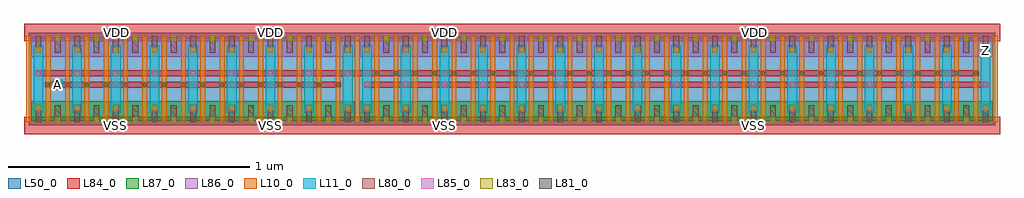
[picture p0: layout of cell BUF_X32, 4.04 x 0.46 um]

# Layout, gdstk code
import gdstk
lib = gdstk.Library(unit=1e-6, precision=1e-09)
def R(c, l, rs):  # rectangles x0, y0, x1, y1
    for r in rs: c.add(gdstk.rectangle(r[:2], r[2:], *l))
def A(c, l, x, y, w, h, nx, ny, dx, dy):  # array of equal rectangles
    R(c, l, [(x+i*dx, y+j*dy, x+i*dx+w, y+j*dy+h) for i in range(nx) for j in range(ny)])
L10_0 = (10, 0)
L11_0 = (11, 0)
L50_0 = (50, 0)
L80_0 = (80, 0)
L81_0 = (81, 0)
L83_0 = (83, 0)
L84_0 = (84, 0)
L85_0 = (85, 0)
L86_0 = (86, 0)
L87_0 = (87, 0)

buf_x32 = lib.new_cell('BUF_X32')
A(buf_x32, L10_0, -0.094, 0.116, 0.02, 0.36, 5, 1, 0.08, 0)
A(buf_x32, L10_0, 0.306, 0.116, 0.02, 0.36, 5, 1, 0.08, 0)
A(buf_x32, L10_0, 0.626, 0.116, 0.02, 0.36, 4, 1, 0.08, 0)
A(buf_x32, L10_0, 0.946, 0.116, 0.02, 0.36, 5, 1, 0.08, 0)
A(buf_x32, L10_0, 1.266, 0.116, 0.02, 0.36, 5, 1, 0.08, 0)
A(buf_x32, L10_0, 1.666, 0.116, 0.02, 0.36, 4, 1, 0.08, 0)
A(buf_x32, L10_0, 1.986, 0.116, 0.02, 0.36, 4, 1, 0.08, 0)
A(buf_x32, L10_0, 2.306, 0.116, 0.02, 0.36, 5, 1, 0.08, 0)
A(buf_x32, L10_0, 2.626, 0.116, 0.02, 0.36, 4, 1, 0.08, 0)
A(buf_x32, L10_0, 2.946, 0.116, 0.02, 0.36, 4, 1, 0.08, 0)
A(buf_x32, L10_0, 3.266, 0.116, 0.02, 0.36, 4, 1, 0.08, 0)
A(buf_x32, L10_0, 3.586, 0.116, 0.02, 0.36, 5, 1, 0.08, 0)
R(buf_x32, L10_0, [(0.226,0.116,0.246,0.476), (0.306,0.116,0.326,0.476), (0.626,0.116,0.646,0.476), (0.866,0.116,0.886,0.476), (0.946,0.116,0.966,0.476), (1.586,0.116,1.606,0.476), (1.666,0.116,1.686,0.476), (1.906,0.116,1.926,0.476), (1.986,0.116,2.006,0.476), (2.226,0.116,2.246,0.476), (2.306,0.116,2.326,0.476), (2.866,0.116,2.886,0.476), (2.946,0.116,2.966,0.476), (3.186,0.116,3.206,0.476), (3.266,0.116,3.286,0.476), (3.506,0.116,3.526,0.476), (3.586,0.116,3.606,0.476)])
A(buf_x32, L11_0, -0.064, 0.156, 0.04, 0.28, 3, 1, 0.16, 0)
A(buf_x32, L11_0, 0.256, 0.156, 0.04, 0.28, 3, 1, 0.16, 0)
A(buf_x32, L11_0, 0.576, 0.156, 0.04, 0.28, 3, 1, 0.16, 0)
A(buf_x32, L11_0, 0.896, 0.156, 0.04, 0.28, 3, 1, 0.16, 0)
A(buf_x32, L11_0, 1.296, 0.156, 0.04, 0.28, 3, 1, 0.16, 0)
A(buf_x32, L11_0, 1.616, 0.156, 0.04, 0.28, 3, 1, 0.16, 0)
A(buf_x32, L11_0, 1.936, 0.156, 0.04, 0.28, 3, 1, 0.16, 0)
A(buf_x32, L11_0, 2.256, 0.156, 0.04, 0.28, 3, 1, 0.16, 0)
A(buf_x32, L11_0, 2.576, 0.156, 0.04, 0.28, 3, 1, 0.16, 0)
A(buf_x32, L11_0, 2.896, 0.156, 0.04, 0.28, 3, 1, 0.16, 0)
A(buf_x32, L11_0, 3.216, 0.156, 0.04, 0.28, 3, 1, 0.16, 0)
A(buf_x32, L11_0, 3.536, 0.156, 0.04, 0.28, 3, 1, 0.16, 0)
R(buf_x32, L11_0, [(0.016,0.252,0.056,0.292)])
R(buf_x32, L50_0, [(-0.084,0.104,3.916,0.488)])
A(buf_x32, L80_0, -0.056, 0.116, 0.024, 0.072, 5, 2, 0.08, 0.288)
A(buf_x32, L80_0, 0.264, 0.116, 0.024, 0.072, 5, 2, 0.08, 0.288)
A(buf_x32, L80_0, 0.584, 0.116, 0.024, 0.072, 5, 2, 0.08, 0.288)
A(buf_x32, L80_0, 0.904, 0.116, 0.024, 0.072, 10, 2, 0.08, 0.288)
A(buf_x32, L80_0, 1.624, 0.116, 0.024, 0.072, 5, 2, 0.08, 0.288)
A(buf_x32, L80_0, 1.944, 0.116, 0.024, 0.072, 5, 2, 0.08, 0.288)
A(buf_x32, L80_0, 2.264, 0.116, 0.024, 0.072, 5, 2, 0.08, 0.288)
A(buf_x32, L80_0, 2.584, 0.116, 0.024, 0.072, 5, 2, 0.08, 0.288)
A(buf_x32, L80_0, 2.904, 0.116, 0.024, 0.072, 5, 2, 0.08, 0.288)
A(buf_x32, L80_0, 3.224, 0.116, 0.024, 0.072, 5, 2, 0.08, 0.288)
A(buf_x32, L80_0, 3.544, 0.116, 0.024, 0.072, 5, 2, 0.08, 0.288)
A(buf_x32, L81_0, -0.013, 0.263, 0.018, 0.018, 16, 1, 0.08, 0)
A(buf_x32, L81_0, 1.347, 0.311, 0.018, 0.018, 32, 1, 0.08, 0)
A(buf_x32, L83_0, 0.026, 0.118, 0.02, 0.02, 8, 2, 0.16, 0.336)
A(buf_x32, L83_0, 1.386, 0.118, 0.02, 0.02, 16, 2, 0.16, 0.336)
A(buf_x32, L83_0, -0.054, 0.166, 0.02, 0.02, 3, 2, 0.16, 0.24)
A(buf_x32, L83_0, 0.266, 0.166, 0.02, 0.02, 3, 2, 0.16, 0.24)
A(buf_x32, L83_0, 0.586, 0.166, 0.02, 0.02, 3, 2, 0.16, 0.24)
A(buf_x32, L83_0, 0.906, 0.166, 0.02, 0.02, 3, 2, 0.16, 0.24)
A(buf_x32, L83_0, 1.306, 0.166, 0.02, 0.02, 3, 2, 0.16, 0.24)
A(buf_x32, L83_0, 1.626, 0.166, 0.02, 0.02, 3, 2, 0.16, 0.24)
A(buf_x32, L83_0, 1.946, 0.166, 0.02, 0.02, 3, 2, 0.16, 0.24)
A(buf_x32, L83_0, 2.266, 0.166, 0.02, 0.02, 3, 2, 0.16, 0.24)
A(buf_x32, L83_0, 2.586, 0.166, 0.02, 0.02, 3, 2, 0.16, 0.24)
A(buf_x32, L83_0, 2.906, 0.166, 0.02, 0.02, 3, 2, 0.16, 0.24)
A(buf_x32, L83_0, 3.226, 0.166, 0.02, 0.02, 3, 2, 0.16, 0.24)
A(buf_x32, L83_0, 3.546, 0.166, 0.02, 0.02, 3, 2, 0.16, 0.24)
A(buf_x32, L84_0, 1.256, 0.068, 0.44, 0.072, 4, 2, 0.32, 0.384)
A(buf_x32, L84_0, 2.856, 0.068, 0.44, 0.072, 3, 2, 0.32, 0.384)
A(buf_x32, L84_0, -0.056, 0.164, 0.024, 0.024, 3, 2, 0.16, 0.24)
A(buf_x32, L84_0, 0.264, 0.164, 0.024, 0.024, 3, 2, 0.16, 0.24)
A(buf_x32, L84_0, 0.584, 0.164, 0.024, 0.024, 3, 2, 0.16, 0.24)
A(buf_x32, L84_0, 0.904, 0.164, 0.024, 0.024, 3, 2, 0.16, 0.24)
A(buf_x32, L84_0, 1.304, 0.164, 0.024, 0.024, 3, 2, 0.16, 0.24)
A(buf_x32, L84_0, 1.624, 0.164, 0.024, 0.024, 3, 2, 0.16, 0.24)
A(buf_x32, L84_0, 1.944, 0.164, 0.024, 0.024, 3, 2, 0.16, 0.24)
A(buf_x32, L84_0, 2.264, 0.164, 0.024, 0.024, 3, 2, 0.16, 0.24)
A(buf_x32, L84_0, 2.584, 0.164, 0.024, 0.024, 3, 2, 0.16, 0.24)
A(buf_x32, L84_0, 2.904, 0.164, 0.024, 0.024, 3, 2, 0.16, 0.24)
A(buf_x32, L84_0, 3.224, 0.164, 0.024, 0.024, 3, 2, 0.16, 0.24)
A(buf_x32, L84_0, 3.544, 0.164, 0.024, 0.024, 3, 2, 0.16, 0.24)
A(buf_x32, L84_0, 1.304, 0.26, 0.344, 0.024, 8, 1, 0.32, 0)
A(buf_x32, L84_0, 1.344, 0.308, 0.342, 0.024, 3, 1, 0.32, 0)
A(buf_x32, L84_0, 2.624, 0.308, 0.342, 0.024, 3, 1, 0.32, 0)
R(buf_x32, L84_0, [(-0.104,0.068,0.336,0.14), (0.216,0.068,0.656,0.14), (0.616,0.068,3.936,0.14), (-0.016,0.26,0.326,0.284), (0.304,0.26,0.568,0.284), (0.466,0.26,0.966,0.284), (0.944,0.26,1.208,0.284), (-0.056,0.308,0.288,0.332), (0.264,0.308,0.726,0.332), (0.584,0.308,3.848,0.332), (2.304,0.308,2.568,0.332), (3.584,0.308,3.848,0.332), (-0.104,0.452,0.336,0.524), (0.216,0.452,0.656,0.524), (0.616,0.452,3.936,0.524)])
A(buf_x32, L85_0, -0.055, 0.165, 0.022, 0.022, 3, 2, 0.16, 0.144)
A(buf_x32, L85_0, 0.265, 0.165, 0.022, 0.022, 3, 2, 0.16, 0.144)
A(buf_x32, L85_0, 0.585, 0.165, 0.022, 0.022, 3, 2, 0.16, 0.144)
A(buf_x32, L85_0, 0.905, 0.165, 0.022, 0.022, 3, 2, 0.16, 0.144)
A(buf_x32, L85_0, 1.305, 0.165, 0.022, 0.022, 3, 2, 0.16, 0.096)
A(buf_x32, L85_0, 1.625, 0.165, 0.022, 0.022, 3, 2, 0.16, 0.096)
A(buf_x32, L85_0, 1.945, 0.165, 0.022, 0.022, 3, 2, 0.16, 0.096)
A(buf_x32, L85_0, 2.265, 0.165, 0.022, 0.022, 3, 2, 0.16, 0.096)
A(buf_x32, L85_0, 2.585, 0.165, 0.022, 0.022, 3, 2, 0.16, 0.096)
A(buf_x32, L85_0, 2.905, 0.165, 0.022, 0.022, 3, 2, 0.16, 0.096)
A(buf_x32, L85_0, 3.225, 0.165, 0.022, 0.022, 3, 2, 0.16, 0.096)
A(buf_x32, L85_0, 3.545, 0.165, 0.022, 0.022, 3, 2, 0.16, 0.096)
A(buf_x32, L85_0, -0.055, 0.405, 0.022, 0.022, 3, 1, 0.16, 0)
A(buf_x32, L85_0, 0.265, 0.405, 0.022, 0.022, 3, 1, 0.16, 0)
A(buf_x32, L85_0, 0.585, 0.405, 0.022, 0.022, 3, 1, 0.16, 0)
A(buf_x32, L85_0, 0.905, 0.405, 0.022, 0.022, 3, 1, 0.16, 0)
A(buf_x32, L85_0, 1.305, 0.405, 0.022, 0.022, 3, 1, 0.16, 0)
A(buf_x32, L85_0, 1.625, 0.405, 0.022, 0.022, 3, 1, 0.16, 0)
A(buf_x32, L85_0, 1.945, 0.405, 0.022, 0.022, 3, 1, 0.16, 0)
A(buf_x32, L85_0, 2.265, 0.405, 0.022, 0.022, 3, 1, 0.16, 0)
A(buf_x32, L85_0, 2.585, 0.405, 0.022, 0.022, 3, 1, 0.16, 0)
A(buf_x32, L85_0, 2.905, 0.405, 0.022, 0.022, 3, 1, 0.16, 0)
A(buf_x32, L85_0, 3.225, 0.405, 0.022, 0.022, 3, 1, 0.16, 0)
A(buf_x32, L85_0, 3.545, 0.405, 0.022, 0.022, 3, 1, 0.16, 0)
R(buf_x32, L85_0, [(0.025,0.261,0.047,0.283)])
A(buf_x32, L86_0, 1.606, 0.388, 0.38, 0.08, 7, 1, 0.32, 0)
R(buf_x32, L86_0, [(-0.074,0.388,0.306,0.468), (0.246,0.388,0.626,0.468), (0.546,0.388,1.266,0.468), (1.286,0.388,3.906,0.468)])
A(buf_x32, L87_0, 1.606, 0.124, 0.38, 0.08, 7, 1, 0.32, 0)
R(buf_x32, L87_0, [(-0.074,0.124,0.306,0.204), (0.246,0.124,0.626,0.204), (0.385,0.124,1.266,0.204), (1.286,0.124,3.906,0.204)])
buf_x32.add(gdstk.Label('VSS', (1.636,0.104), layer=88, texttype=0))
buf_x32.add(gdstk.Label('VDD', (1.638,0.488), layer=88, texttype=0))
buf_x32.add(gdstk.Label('VSS', (2.916,0.104), layer=88, texttype=0))
buf_x32.add(gdstk.Label('VDD', (2.918,0.488), layer=88, texttype=0))
buf_x32.add(gdstk.Label('VDD', (0.918,0.488), layer=88, texttype=0))
buf_x32.add(gdstk.Label('VSS', (0.916,0.104), layer=88, texttype=0))
buf_x32.add(gdstk.Label('VDD', (0.278,0.488), layer=88, texttype=0))
buf_x32.add(gdstk.Label('VSS', (0.276,0.104), layer=88, texttype=0))
buf_x32.add(gdstk.Label('Z', (3.876,0.416), layer=31, texttype=0))
buf_x32.add(gdstk.Label('A', (0.036,0.272), layer=31, texttype=0))

lib.write_gds('BUF_X32.gds')
